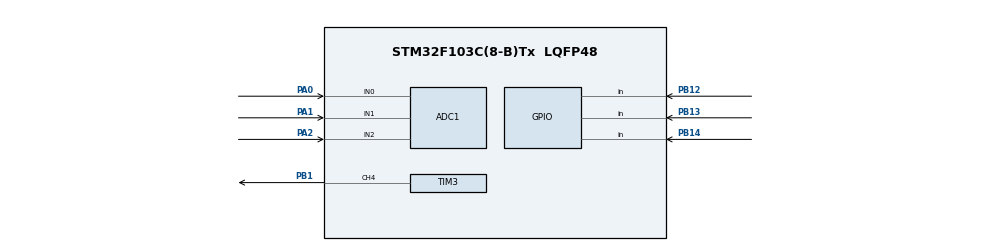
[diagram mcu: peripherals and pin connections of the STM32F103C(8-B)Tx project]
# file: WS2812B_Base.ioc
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ADC1.Channel-0\#ChannelRegularConversion=ADC_CHANNEL_0
ADC1.Channel-1\#ChannelRegularConversion=ADC_CHANNEL_1
ADC1.Channel-2\#ChannelRegularConversion=ADC_CHANNEL_2
ADC1.ContinuousConvMode=ENABLE
ADC1.NbrOfConversion=3
ADC1.NbrOfConversionFlag=1
ADC1.Rank-0\#ChannelRegularConversion=1
ADC1.Rank-1\#ChannelRegularConversion=2
ADC1.Rank-2\#ChannelRegularConversion=3
ADC1.SamplingTime-0\#ChannelRegularConversion=ADC_SAMPLETIME_1CYCLE_5
ADC1.SamplingTime-1\#ChannelRegularConversion=ADC_SAMPLETIME_1CYCLE_5
ADC1.SamplingTime-2\#ChannelRegularConversion=ADC_SAMPLETIME_1CYCLE_5
ADC1.master=1
Dma.ADC1.1.Direction=DMA_PERIPH_TO_MEMORY
Dma.ADC1.1.Instance=DMA1_Channel1
Dma.ADC1.1.MemDataAlignment=DMA_MDATAALIGN_WORD
Dma.ADC1.1.MemInc=DMA_MINC_ENABLE
Dma.ADC1.1.Mode=DMA_CIRCULAR
Dma.ADC1.1.PeriphDataAlignment=DMA_PDATAALIGN_HALFWORD
Dma.ADC1.1.PeriphInc=DMA_PINC_DISABLE
Dma.ADC1.1.Priority=DMA_PRIORITY_LOW
Dma.Request0=TIM3_CH4/UP
Dma.Request1=ADC1
Dma.TIM3_CH4/UP.0.Direction=DMA_MEMORY_TO_PERIPH
Dma.TIM3_CH4/UP.0.Instance=DMA1_Channel3
Dma.TIM3_CH4/UP.0.MemDataAlignment=DMA_MDATAALIGN_HALFWORD
Dma.TIM3_CH4/UP.0.MemInc=DMA_MINC_ENABLE
Dma.TIM3_CH4/UP.0.Mode=DMA_NORMAL
Dma.TIM3_CH4/UP.0.PeriphDataAlignment=DMA_PDATAALIGN_HALFWORD
Dma.TIM3_CH4/UP.0.PeriphInc=DMA_PINC_DISABLE
Dma.TIM3_CH4/UP.0.Priority=DMA_PRIORITY_LOW
Mcu.Family=STM32F1
Mcu.Name=STM32F103C(8-B)Tx
Mcu.Package=LQFP48
NVIC.DMA1_Channel1_IRQn=true\:0\:0\:false\:false\:true\:false\:true
NVIC.DMA1_Channel3_IRQn=true\:0\:0\:false\:false\:true\:false\:true
NVIC.PriorityGroup=NVIC_PRIORITYGROUP_4
NVIC.TIM4_IRQn=true\:0\:0\:false\:false\:true\:true\:true
PA0-WKUP.Signal=ADCx_IN0
PA1.Signal=ADCx_IN1
PA13.Mode=Serial_Wire
PA13.Signal=SYS_JTMS-SWDIO
PA14.Mode=Serial_Wire
PA14.Signal=SYS_JTCK-SWCLK
PA2.Signal=ADCx_IN2
PB1.Signal=S_TIM3_CH4
PB12.Signal=GPIO_Input
PB13.Signal=GPIO_Input
PB14.Signal=GPIO_Input
PD0-OSC_IN.Mode=HSE-External-Oscillator
PD0-OSC_IN.Signal=RCC_OSC_IN
PD1-OSC_OUT.Mode=HSE-External-Oscillator
PD1-OSC_OUT.Signal=RCC_OSC_OUT
ProjectManager.HeapSize=0x200
ProjectManager.StackSize=0x400
ProjectManager.TargetToolchain=MDK-ARM V5.27
RCC.ADCPresc=RCC_ADCPCLK2_DIV6
RCC.AHBFreq_Value=72000000
RCC.APB1CLKDivider=RCC_HCLK_DIV2
RCC.APB1Freq_Value=36000000
RCC.APB1TimFreq_Value=72000000
RCC.APB2Freq_Value=72000000
RCC.APB2TimFreq_Value=72000000
RCC.HCLKFreq_Value=72000000
RCC.PLLMUL=RCC_PLL_MUL9
RCC.PLLSourceVirtual=RCC_PLLSOURCE_HSE
RCC.SYSCLKFreq_VALUE=72000000
RCC.SYSCLKSource=RCC_SYSCLKSOURCE_PLLCLK
RCC.USBFreq_Value=72000000
SH.ADCx_IN0.0=ADC1_IN0,IN0
SH.ADCx_IN1.0=ADC1_IN1,IN1
SH.ADCx_IN2.0=ADC1_IN2,IN2
SH.S_TIM3_CH4.0=TIM3_CH4,PWM Generation4 CH4
TIM3.Channel-PWM\ Generation4\ CH4=TIM_CHANNEL_4
TIM3.Period=89
TIM4.ClockDivision=TIM_CLOCKDIVISION_DIV1
TIM4.Period=866
TIM4.Prescaler=99
VP_TIM3_VS_ClockSourceINT.Mode=Internal
VP_TIM4_VS_ClockSourceINT.Mode=Internal
board=custom

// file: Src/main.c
/* USER CODE BEGIN Header */
/**
  ******************************************************************************
  * @file           : main.c
  * @brief          : Main program body
  ******************************************************************************
  * @attention
  *
  * <h2><center>&copy; Copyright (c) 2020 STMicroelectronics.
  * All rights reserved.</center></h2>
  *
  * This software component is licensed by ST under BSD 3-Clause license,
  * the "License"; You may not use this file except in compliance with the
  * License. You may obtain a copy of the License at:
  *                        opensource.org/licenses/BSD-3-Clause
  *
  ******************************************************************************
  */
/* USER CODE END Header */

#include "main.h"

/* USER CODE BEGIN Includes */
#include "ws2812b.h"
#include "Lights.h"
/* USER CODE END Includes */

/* USER CODE BEGIN PV */
//uint16_t MatrixSource[48+48] = {0};

/* USER CODE END PV */

void SystemClock_Config(void);
static void MX_GPIO_Init(void);
static void MX_DMA_Init(void);
static void MX_TIM3_Init(void);
static void MX_TIM4_Init(void);
static void MX_ADC1_Init(void);

int main(void)
{

  /* MCU Configuration--------------------------------------------------------*/

  /* Reset of all peripherals, Initializes the Flash interface and the Systick. */

  LL_APB2_GRP1_EnableClock(LL_APB2_GRP1_PERIPH_AFIO);
  LL_APB1_GRP1_EnableClock(LL_APB1_GRP1_PERIPH_PWR);

  NVIC_SetPriorityGrouping(NVIC_PRIORITYGROUP_4);

  /* System interrupt init*/

  /** NOJTAG: JTAG-DP Disabled and SW-DP Enabled
  */
  LL_GPIO_AF_Remap_SWJ_NOJTAG();

  /* Configure the system clock */
  SystemClock_Config();

  /* Initialize all configured peripherals */
  MX_GPIO_Init();
  MX_DMA_Init();
  MX_TIM3_Init();
  MX_TIM4_Init();
  MX_ADC1_Init();
  /* USER CODE BEGIN 2 */

	WS2812Init();

//    uint32_t ADC_Buff[3] = {0};
//
//    LL_DMA_DisableChannel(DMA1, LL_DMA_CHANNEL_1);
//    LL_DMA_SetDataLength(DMA1, LL_DMA_CHANNEL_1, 3);
//    LL_DMA_ConfigAddresses(DMA1, LL_DMA_CHANNEL_1, LL_ADC_DMA_GetRegAddr(ADC1, LL_ADC_DMA_REG_REGULAR_DATA), (uint32_t) &ADC_Buff, LL_DMA_DIRECTION_PERIPH_TO_MEMORY);
//
//	LL_DMA_EnableChannel(DMA1, LL_DMA_CHANNEL_1);
//	LL_DMA_EnableIT_TC(DMA1, LL_DMA_CHANNEL_1);
//
//    LL_ADC_Enable(ADC1);
//
//	uint32_t wait_loop_index = 0;
//
//	wait_loop_index = ((LL_ADC_DELAY_ENABLE_CALIB_ADC_CYCLES * 32) >> 1);
//  while(wait_loop_index != 0)
//  {
//    wait_loop_index--;
//  }
//  LL_ADC_StartCalibration(ADC1);
//	while (LL_ADC_IsCalibrationOnGoing(ADC1) != 0){}
//        LL_ADC_REG_StartConversionSWStart(ADC1);

    Lights_Init();
//    setPixel(0xFF, 0xFF, 0xFF, 4);
//    RefreshMatrix();
//    LL_mDelay(1000);

  /* USER CODE END 2 */

  /* Infinite loop */
  /* USER CODE BEGIN WHILE */

  while (1)
  {

//      uint8_t R = ADC_Buff[2] >> 4;
//      uint8_t G = ADC_Buff[1] >> 4;
//      uint8_t B = ADC_Buff[0] >> 4;
//
//      for(int32_t i = 0; i < 8; i++){
//        setPixel(R, G, B, i);
//      }
//      RefreshMatrix();
//

      uint32_t Case = LL_GPIO_IsInputPinSet(GPIOB, LL_GPIO_PIN_12) << 1;
      Case += LL_GPIO_IsInputPinSet(GPIOB, LL_GPIO_PIN_13);
      switch(Case){
          case 1: Turn_On_Left();
              break;
          case 2: Turn_On_Right();
              break;
          case 3: Turn_On_Both();
              break;
          default: Turn_Off();
              break;
      }

      if((GPIOB->IDR & GPIO_IDR_IDR14_Msk)){
          Stop_On();
      } else {
          Stop_Off();
      }

    /* USER CODE END WHILE */

  }
}

void SystemClock_Config(void)
{
  LL_FLASH_SetLatency(LL_FLASH_LATENCY_2);

   if(LL_FLASH_GetLatency() != LL_FLASH_LATENCY_2)
  {
    Error_Handler();
  }
  LL_RCC_HSE_Enable();

   /* Wait till HSE is ready */
  while(LL_RCC_HSE_IsReady() != 1)
  {

  }
  LL_RCC_PLL_ConfigDomain_SYS(LL_RCC_PLLSOURCE_HSE_DIV_1, LL_RCC_PLL_MUL_9);
  LL_RCC_PLL_Enable();

   /* Wait till PLL is ready */
  while(LL_RCC_PLL_IsReady() != 1)
  {

  }
  LL_RCC_SetAHBPrescaler(LL_RCC_SYSCLK_DIV_1);
  LL_RCC_SetAPB1Prescaler(LL_RCC_APB1_DIV_2);
  LL_RCC_SetAPB2Prescaler(LL_RCC_APB2_DIV_1);
  LL_RCC_SetSysClkSource(LL_RCC_SYS_CLKSOURCE_PLL);

   /* Wait till System clock is ready */
  while(LL_RCC_GetSysClkSource() != LL_RCC_SYS_CLKSOURCE_STATUS_PLL)
  {

  }
  LL_Init1msTick(72000000);
  LL_SetSystemCoreClock(72000000);
  LL_RCC_SetADCClockSource(LL_RCC_ADC_CLKSRC_PCLK2_DIV_6);
}

static void MX_ADC1_Init(void)
{

  LL_ADC_InitTypeDef ADC_InitStruct = {0};
  LL_ADC_CommonInitTypeDef ADC_CommonInitStruct = {0};
  LL_ADC_REG_InitTypeDef ADC_REG_InitStruct = {0};

  LL_GPIO_InitTypeDef GPIO_InitStruct = {0};

  /* Peripheral clock enable */
  LL_APB2_GRP1_EnableClock(LL_APB2_GRP1_PERIPH_ADC1);

  LL_APB2_GRP1_EnableClock(LL_APB2_GRP1_PERIPH_GPIOA);
  /**ADC1 GPIO Configuration
  PA0-WKUP   ------> ADC1_IN0
  PA1   ------> ADC1_IN1
  PA2   ------> ADC1_IN2
  */
  GPIO_InitStruct.Pin = LL_GPIO_PIN_0|LL_GPIO_PIN_1|LL_GPIO_PIN_2;
  GPIO_InitStruct.Mode = LL_GPIO_MODE_ANALOG;
  LL_GPIO_Init(GPIOA, &GPIO_InitStruct);

  /* ADC1 DMA Init */

  /* ADC1 Init */
  LL_DMA_SetDataTransferDirection(DMA1, LL_DMA_CHANNEL_1, LL_DMA_DIRECTION_PERIPH_TO_MEMORY);

  LL_DMA_SetChannelPriorityLevel(DMA1, LL_DMA_CHANNEL_1, LL_DMA_PRIORITY_LOW);

  LL_DMA_SetMode(DMA1, LL_DMA_CHANNEL_1, LL_DMA_MODE_CIRCULAR);

  LL_DMA_SetPeriphIncMode(DMA1, LL_DMA_CHANNEL_1, LL_DMA_PERIPH_NOINCREMENT);

  LL_DMA_SetMemoryIncMode(DMA1, LL_DMA_CHANNEL_1, LL_DMA_MEMORY_INCREMENT);

  LL_DMA_SetPeriphSize(DMA1, LL_DMA_CHANNEL_1, LL_DMA_PDATAALIGN_HALFWORD);

  LL_DMA_SetMemorySize(DMA1, LL_DMA_CHANNEL_1, LL_DMA_MDATAALIGN_WORD);

  /** Common config
  */
  ADC_InitStruct.DataAlignment = LL_ADC_DATA_ALIGN_RIGHT;
  ADC_InitStruct.SequencersScanMode = LL_ADC_SEQ_SCAN_ENABLE;
  LL_ADC_Init(ADC1, &ADC_InitStruct);
  ADC_CommonInitStruct.Multimode = LL_ADC_MULTI_INDEPENDENT;
  LL_ADC_CommonInit(__LL_ADC_COMMON_INSTANCE(ADC1), &ADC_CommonInitStruct);
  ADC_REG_InitStruct.TriggerSource = LL_ADC_REG_TRIG_SOFTWARE;
  ADC_REG_InitStruct.SequencerLength = LL_ADC_REG_SEQ_SCAN_ENABLE_3RANKS;
  ADC_REG_InitStruct.SequencerDiscont = LL_ADC_REG_SEQ_DISCONT_DISABLE;
  ADC_REG_InitStruct.ContinuousMode = LL_ADC_REG_CONV_CONTINUOUS;
  ADC_REG_InitStruct.DMATransfer = LL_ADC_REG_DMA_TRANSFER_UNLIMITED;
  LL_ADC_REG_Init(ADC1, &ADC_REG_InitStruct);
  /** Configure Regular Channel
  */
  LL_ADC_REG_SetSequencerRanks(ADC1, LL_ADC_REG_RANK_1, LL_ADC_CHANNEL_0);
  LL_ADC_SetChannelSamplingTime(ADC1, LL_ADC_CHANNEL_0, LL_ADC_SAMPLINGTIME_1CYCLE_5);
  /** Configure Regular Channel
  */
  LL_ADC_REG_SetSequencerRanks(ADC1, LL_ADC_REG_RANK_2, LL_ADC_CHANNEL_1);
  LL_ADC_SetChannelSamplingTime(ADC1, LL_ADC_CHANNEL_1, LL_ADC_SAMPLINGTIME_1CYCLE_5);
  /** Configure Regular Channel
  */
  LL_ADC_REG_SetSequencerRanks(ADC1, LL_ADC_REG_RANK_3, LL_ADC_CHANNEL_2);
  LL_ADC_SetChannelSamplingTime(ADC1, LL_ADC_CHANNEL_2, LL_ADC_SAMPLINGTIME_1CYCLE_5);

}

static void MX_TIM3_Init(void)
{

  LL_TIM_InitTypeDef TIM_InitStruct = {0};
  LL_TIM_OC_InitTypeDef TIM_OC_InitStruct = {0};

  LL_GPIO_InitTypeDef GPIO_InitStruct = {0};

  /* Peripheral clock enable */
  LL_APB1_GRP1_EnableClock(LL_APB1_GRP1_PERIPH_TIM3);

  /* TIM3 DMA Init */

  /* TIM3_CH4_UP Init */
  LL_DMA_SetDataTransferDirection(DMA1, LL_DMA_CHANNEL_3, LL_DMA_DIRECTION_MEMORY_TO_PERIPH);

  LL_DMA_SetChannelPriorityLevel(DMA1, LL_DMA_CHANNEL_3, LL_DMA_PRIORITY_LOW);

  LL_DMA_SetMode(DMA1, LL_DMA_CHANNEL_3, LL_DMA_MODE_NORMAL);

  LL_DMA_SetPeriphIncMode(DMA1, LL_DMA_CHANNEL_3, LL_DMA_PERIPH_NOINCREMENT);

  LL_DMA_SetMemoryIncMode(DMA1, LL_DMA_CHANNEL_3, LL_DMA_MEMORY_INCREMENT);

  LL_DMA_SetPeriphSize(DMA1, LL_DMA_CHANNEL_3, LL_DMA_PDATAALIGN_HALFWORD);

  LL_DMA_SetMemorySize(DMA1, LL_DMA_CHANNEL_3, LL_DMA_MDATAALIGN_HALFWORD);

  TIM_InitStruct.Prescaler = 0;
  TIM_InitStruct.CounterMode = LL_TIM_COUNTERMODE_UP;
  TIM_InitStruct.Autoreload = 89;
  TIM_InitStruct.ClockDivision = LL_TIM_CLOCKDIVISION_DIV1;
  LL_TIM_Init(TIM3, &TIM_InitStruct);
  LL_TIM_DisableARRPreload(TIM3);
  LL_TIM_SetClockSource(TIM3, LL_TIM_CLOCKSOURCE_INTERNAL);
  LL_TIM_OC_EnablePreload(TIM3, LL_TIM_CHANNEL_CH4);
  TIM_OC_InitStruct.OCMode = LL_TIM_OCMODE_PWM1;
  TIM_OC_InitStruct.OCState = LL_TIM_OCSTATE_DISABLE;
  TIM_OC_InitStruct.OCNState = LL_TIM_OCSTATE_DISABLE;
  TIM_OC_InitStruct.CompareValue = 0;
  TIM_OC_InitStruct.OCPolarity = LL_TIM_OCPOLARITY_HIGH;
  LL_TIM_OC_Init(TIM3, LL_TIM_CHANNEL_CH4, &TIM_OC_InitStruct);
  LL_TIM_OC_DisableFast(TIM3, LL_TIM_CHANNEL_CH4);
  LL_TIM_SetTriggerOutput(TIM3, LL_TIM_TRGO_RESET);
  LL_TIM_DisableMasterSlaveMode(TIM3);
  LL_APB2_GRP1_EnableClock(LL_APB2_GRP1_PERIPH_GPIOB);
  /**TIM3 GPIO Configuration
  PB1   ------> TIM3_CH4
  */
  GPIO_InitStruct.Pin = LL_GPIO_PIN_1;
  GPIO_InitStruct.Mode = LL_GPIO_MODE_ALTERNATE;
  GPIO_InitStruct.Speed = LL_GPIO_SPEED_FREQ_LOW;
  GPIO_InitStruct.OutputType = LL_GPIO_OUTPUT_PUSHPULL;
  LL_GPIO_Init(GPIOB, &GPIO_InitStruct);

}

static void MX_TIM4_Init(void)
{

  LL_TIM_InitTypeDef TIM_InitStruct = {0};

  /* Peripheral clock enable */
  LL_APB1_GRP1_EnableClock(LL_APB1_GRP1_PERIPH_TIM4);

  /* TIM4 interrupt Init */
  NVIC_SetPriority(TIM4_IRQn, NVIC_EncodePriority(NVIC_GetPriorityGrouping(),0, 0));
  NVIC_EnableIRQ(TIM4_IRQn);

  TIM_InitStruct.Prescaler = 99;
  TIM_InitStruct.CounterMode = LL_TIM_COUNTERMODE_UP;
  TIM_InitStruct.Autoreload = 866;
  TIM_InitStruct.ClockDivision = LL_TIM_CLOCKDIVISION_DIV1;
  LL_TIM_Init(TIM4, &TIM_InitStruct);
  LL_TIM_DisableARRPreload(TIM4);
  LL_TIM_SetClockSource(TIM4, LL_TIM_CLOCKSOURCE_INTERNAL);
  LL_TIM_SetTriggerOutput(TIM4, LL_TIM_TRGO_RESET);
  LL_TIM_DisableMasterSlaveMode(TIM4);

}

static void MX_DMA_Init(void)
{

  /* Init with LL driver */
  /* DMA controller clock enable */
  LL_AHB1_GRP1_EnableClock(LL_AHB1_GRP1_PERIPH_DMA1);

  /* DMA interrupt init */
  /* DMA1_Channel1_IRQn interrupt configuration */
  NVIC_SetPriority(DMA1_Channel1_IRQn, NVIC_EncodePriority(NVIC_GetPriorityGrouping(),0, 0));
  NVIC_EnableIRQ(DMA1_Channel1_IRQn);
  /* DMA1_Channel3_IRQn interrupt configuration */
  NVIC_SetPriority(DMA1_Channel3_IRQn, NVIC_EncodePriority(NVIC_GetPriorityGrouping(),0, 0));
  NVIC_EnableIRQ(DMA1_Channel3_IRQn);

}

static void MX_GPIO_Init(void)
{
  LL_GPIO_InitTypeDef GPIO_InitStruct = {0};

  /* GPIO Ports Clock Enable */
  LL_APB2_GRP1_EnableClock(LL_APB2_GRP1_PERIPH_GPIOD);
  LL_APB2_GRP1_EnableClock(LL_APB2_GRP1_PERIPH_GPIOA);
  LL_APB2_GRP1_EnableClock(LL_APB2_GRP1_PERIPH_GPIOB);

  /**/
  GPIO_InitStruct.Pin = LL_GPIO_PIN_12|LL_GPIO_PIN_13|LL_GPIO_PIN_14;
  GPIO_InitStruct.Mode = LL_GPIO_MODE_FLOATING;
  LL_GPIO_Init(GPIOB, &GPIO_InitStruct);

}

void Error_Handler(void)
{
}

/************************ (C) COPYRIGHT STMicroelectronics *****END OF FILE****/
